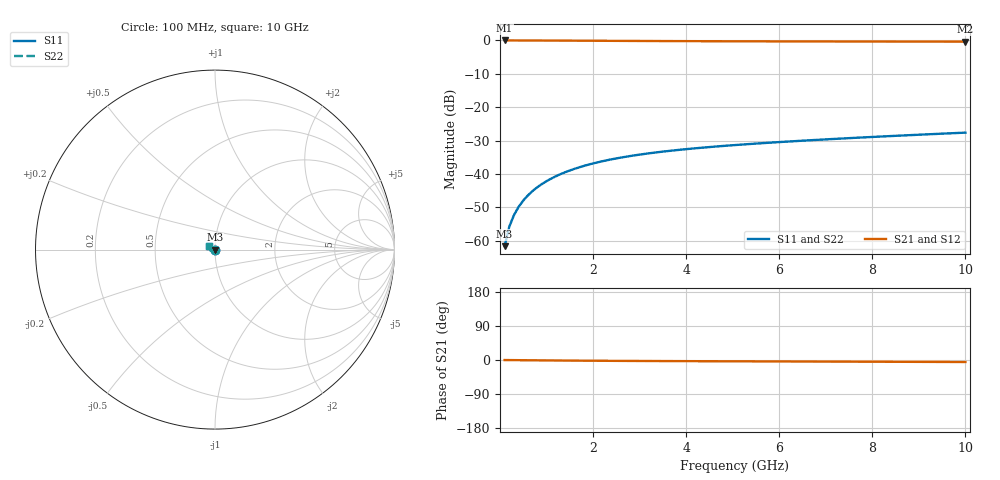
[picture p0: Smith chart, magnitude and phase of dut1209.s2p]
! Touchstone file exported from HFSS 2024.1.0
!  File:  C:/UserFiles/LocalFiles/RDL_TSV_Batchsim/temp_TSV1_1209_1780248211.aedt
!  Generated:  01:30:48 AM Jun  1, 2026
!  Design:  TSV1
!  Project:  temp_TSV1_1209_1780248211
!  Setup:  Setup1
!  Solution:  Sweep
! Variables:
!  dtsv = 7.72um
!  hbump = 3um
!  htsv = 77.49um
!  lrdl = 252.1521522um
!  p = 40
!  p1 = 58.4um
!  t = 500um
!  trdl = 3um
!  wrdl = 24.89489489um
# GHz S MA R 50.000000
! Terminal data exported
! Port[1] = TSV22_T1
! Port[2] = TSV22_T2
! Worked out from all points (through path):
!   100 points, 100 MHz to 10 GHz, reference 50 ohm
!   highest |S21| = 0.00 dB at 100 MHz (marker M1); lowest = -0.3 dB at 10 GHz (marker M2)
!   lowest |S11| = -61.6 dB at 100 MHz (marker M3), VSWR 1.00, Z = 50 - j0.0806 ohm
!   |S11| at or under -10 dB: start of sweep to end of sweep
!   |S22| runs from -61.6 to -27.6 dB; largest |S21 - S12| = 6e-15
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0.1  0.0008312 -75.8  0.9997 -0.1  0.9997 -0.1  0.0008312 -75.8
! Gamma 0 0 0 0
! Port Impedance 50 0 50 0
0.2  0.001624 -86.2  0.9996 -0.2  0.9996 -0.2  0.001624 -86.2
0.3  0.002421 -91.3  0.9994 -0.3  0.9994 -0.3  0.002421 -91.3
0.4  0.003216 -95.0  0.9992 -0.5  0.9992 -0.5  0.003216 -95.0
0.5  0.004006 -98.1  0.9989 -0.6  0.9989 -0.6  0.004006 -98.1
0.6  0.004788 -101.0  0.9986 -0.7  0.9986 -0.7  0.004788 -101.0
0.7  0.005561 -103.6  0.9982 -0.8  0.9982 -0.8  0.005561 -103.6
0.8  0.006324 -106.2  0.9977 -0.9  0.9977 -0.9  0.006324 -106.2
0.9  0.007075 -108.6  0.9972 -1.0  0.9972 -1.0  0.007075 -108.6
1.1  0.008541 -113.3  0.996 -1.2  0.996 -1.2  0.008541 -113.3
1.4  0.01063 -120.0  0.9941 -1.5  0.9941 -1.5  0.01063 -120.0
1.6  0.01195 -124.3  0.9927 -1.6  0.9927 -1.6  0.01195 -124.3
1.8  0.01321 -128.3  0.9912 -1.8  0.9912 -1.8  0.01321 -128.3
2.1  0.01498 -134.2  0.9889 -2.0  0.9889 -2.0  0.01498 -134.2
2.5  0.01713 -141.4  0.9859 -2.3  0.9859 -2.3  0.01713 -141.4
2.9  0.01907 -148.1  0.983 -2.5  0.983 -2.5  0.01907 -148.1
3.4  0.02124 -155.8  0.9797 -2.8  0.9797 -2.8  0.02124 -155.8
4.2  0.02429 -166.5  0.9752 -3.1  0.9752 -3.1  0.02429 -166.5
5.1  0.0273 -176.9  0.9712 -3.5  0.9712 -3.5  0.0273 -176.9
6.7  0.03213 168.4  0.9662 -4.1  0.9662 -4.1  0.03213 168.4
8.4  0.03704 156.2  0.9628 -4.7  0.9628 -4.7  0.03704 156.2
10  0.04165 147.2  0.9605 -5.3  0.9605 -5.3  0.04165 147.2
